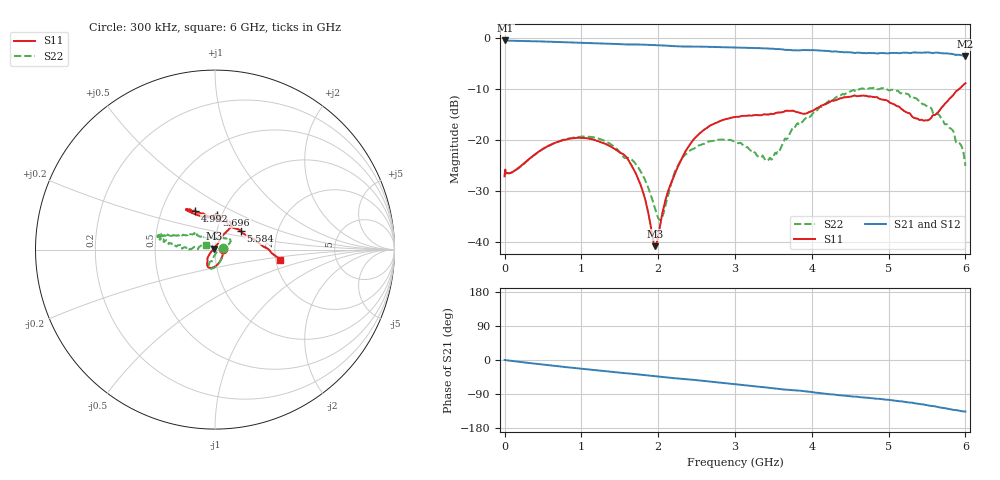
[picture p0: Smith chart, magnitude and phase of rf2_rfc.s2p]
!Agilent Technologies,M9375A,MY55441453,A.02.50.04
!Agilent M9375A: A.02.50.04
!Date: Friday, December 09, 2016 14:39:27
!Correction: S11(Full 2 Port(1,2))
!S21(Full 2 Port(1,2))
!S12(Full 2 Port(1,2))
!S22(Full 2 Port(1,2))
!S2P File: Measurements: S11, S21, S12, S22:
# Hz S  dB  R 50
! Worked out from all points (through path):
!   751 points, 300 kHz to 6 GHz, reference 50 ohm
!   highest |S21| = -0.39 dB at 8.3 MHz (marker M1); lowest = -3.5 dB at 6 GHz (marker M2)
!   group delay of S21, straight-line fit = 59.3 ps
!   lowest |S11| = -40.7 dB at 1.96 GHz (marker M3), VSWR 1.02, Z = 49.3 + j0.539 ohm
!   |S11| at or under -10 dB: start of sweep to 5.912 GHz
!   |S22| runs from -35.6 to -9.6 dB; largest |S21 - S12| = 0.0015
!   S11 on the Smith chart (normalised r, x): 300 kHz: 1.09, +0.01; 3.696 GHz: 0.95, +0.38; 4.992 GHz: 0.73, +0.34; 5.584 GHz: 1.30, +0.28; 6 GHz: 2.10, -0.27
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300000  -27.06 6.2  -0.41 -0.0  -0.42 -0.0  -27.01 9.0
8299600  -25.75 1.5  -0.39 -0.2  -0.40 -0.2  -25.74 1.3
1.00025e9  -19.50 -108.1  -0.86 -23.1  -0.86 -23.1  -19.26 -101.8
1.60022e9  -23.57 -129.8  -1.18 -35.2  -1.18 -35.2  -23.42 -104.3
1.79221e9  -29.66 -143.6  -1.21 -39.3  -1.21 -39.3  -26.61 -102.7
1.960202e9  -40.74 143.5  -1.30 -42.9  -1.30 -42.9  -33.45 -75.3
2.0002e9  -38.69 102.3  -1.32 -43.8  -1.32 -43.8  -35.22 -55.7
2.048198e9  -34.66 79.0  -1.36 -44.8  -1.36 -44.8  -35.25 -22.0
2.136193e9  -29.63 65.6  -1.44 -46.7  -1.44 -46.7  -30.34 13.8
2.240188e9  -25.69 64.0  -1.54 -48.5  -1.54 -48.5  -25.39 21.7
2.39218e9  -21.28 61.3  -1.59 -51.1  -1.60 -51.1  -22.26 21.2
3.00015e9  -15.40 57.4  -1.76 -63.5  -1.76 -63.5  -20.31 37.6
3.416129e9  -14.92 73.2  -1.95 -72.8  -1.96 -72.8  -23.96 87.7
3.696115e9  -14.20 86.9  -2.24 -78.7  -2.25 -78.7  -19.26 138.6
4.0001e9  -14.27 109.3  -2.28 -84.6  -2.29 -84.5  -14.96 153.7
4.520074e9  -11.36 125.8  -2.75 -96.2  -2.76 -96.1  -10.25 164.7
4.99205e9  -12.29 117.3  -2.93 -105.0  -2.94 -105.0  -10.09 167.8
5.00005e9  -12.38 116.8  -2.92 -105.1  -2.93 -105.0  -10.17 168.2
5.39203e9  -15.89 76.1  -2.78 -115.6  -2.79 -115.6  -12.18 172.6
5.584021e9  -15.01 36.0  -2.86 -121.5  -2.87 -121.5  -14.80 175.2
5.832008e9  -11.28 3.1  -3.05 -131.2  -3.07 -131.2  -17.99 176.5
6e9  -8.77 -8.7  -3.49 -136.0  -3.51 -136.0  -24.99 153.7
